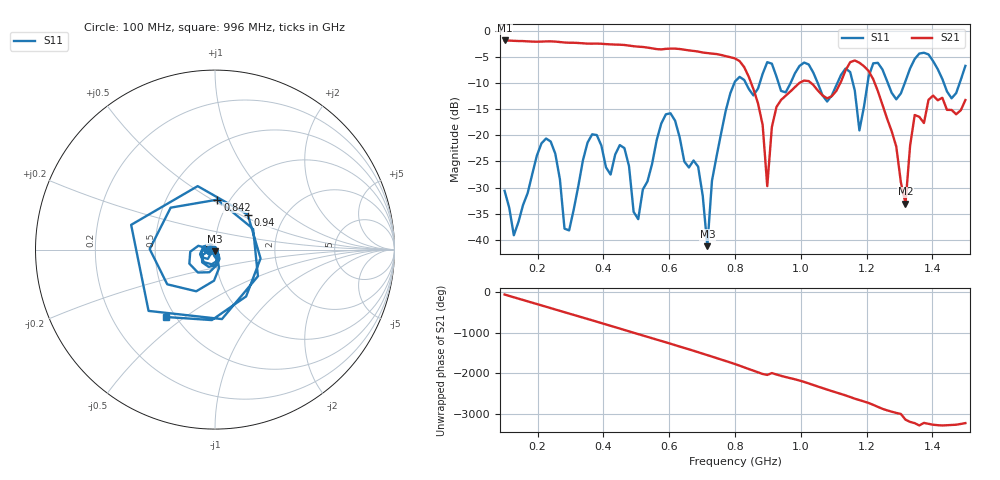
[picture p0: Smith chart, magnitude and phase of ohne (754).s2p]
! NanoVNA-App
! Date: 2025-09-25 14:26:40
! Start: 100MHz Stop: 1,5GHz Points: 101
! S-Parameter data: F S11 S21 S12 S22
# Hz S RI R 50
!  Frequency  S11_Real  S11_Imag  S21_Real  S21_Imag  S12_Real  S12_Imag  S22_Real  S22_Imag
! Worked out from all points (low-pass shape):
!   101 points, 100 MHz to 1.5 GHz, reference 50 ohm
!   highest |S21| = -1.79 dB at 100 MHz (marker M1); lowest = -33.1 dB at 1.318 GHz (marker M2)
!   |S21| within 3 dB of the highest: start of sweep to 770.9 MHz
!   lowest |S11| = -41.2 dB at 716 MHz (marker M3), VSWR 1.02, Z = 49.8 - j0.847 ohm
!   |S11| at or under -10 dB: start of sweep to 797.9 MHz; 833.1 MHz to 875 MHz (41.93 MHz wide, 4.91 % of centre); 1.052 GHz to 1.111 GHz (59.08 MHz wide, 5.46 % of centre) (the widest 3 of 7)
!   S12 and S22 are empty: the file has one direction only
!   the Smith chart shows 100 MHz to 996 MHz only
!   S11 on the Smith chart (normalised r, x): 100 MHz: 0.94, -0.01; 842 MHz: 0.88, +0.53; 940 MHz: 1.31, +0.55; 996 MHz: 0.45, -0.43
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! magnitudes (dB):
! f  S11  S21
! 100 MHz  -30.6  -1.8
! 128 MHz  -39.2  -1.9
! 226 MHz  -20.6  -2.0
! 296 MHz  -38.2  -2.2
! 338 MHz  -24.8  -2.3
! 464 MHz  -22.4  -2.7
! 506 MHz  -36.1  -3.0
! 576 MHz  -17.7  -3.5
! 688 MHz  -26.0  -3.9
! 716 MHz  -41.2  -4.2
! 800 MHz  -9.7  -5.2
! 842 MHz  -11.1  -8.8
! 898 MHz  -6.0  -29.7
! 940 MHz  -11.5  -13.2
! 996 MHz  -6.7  -9.9
! 1.038 GHz  -8.0  -10.3
! 1.178 GHz  -19.0  -6.1
! 1.22 GHz  -6.2  -9.2
! 1.276 GHz  -11.8  -19.2
! 1.318 GHz  -9.6  -33.1
! 1.346 GHz  -5.4  -16.1
! 1.5 GHz  -6.7  -13.2
